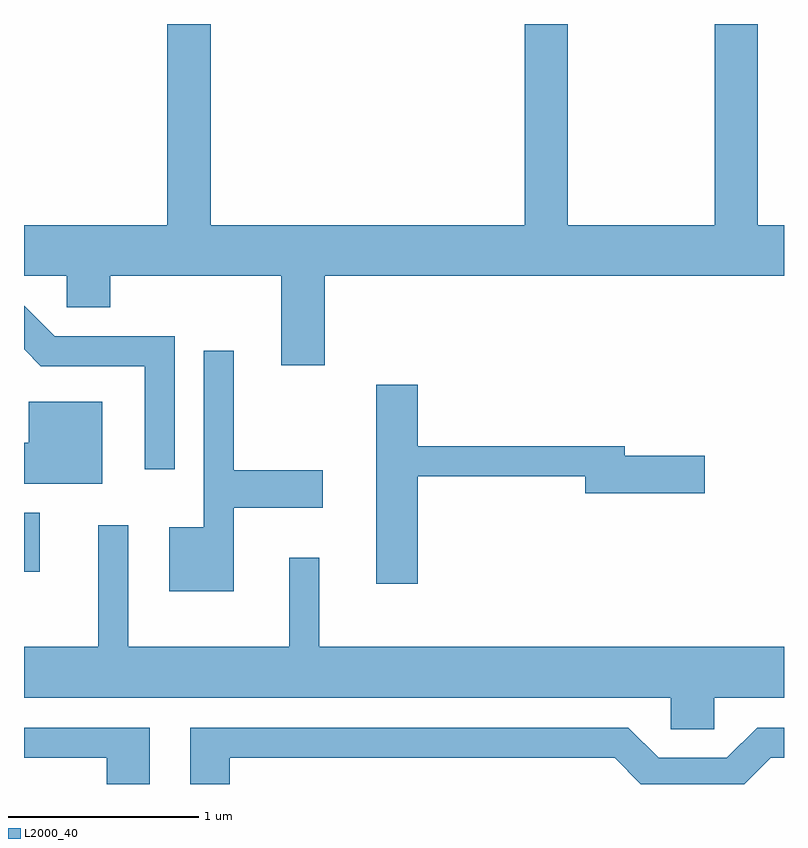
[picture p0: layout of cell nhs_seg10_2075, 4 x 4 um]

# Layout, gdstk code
import gdstk
lib = gdstk.Library(unit=1e-6, precision=1e-09)
def R(c, l, rs):  # rectangles x0, y0, x1, y1
    for r in rs: c.add(gdstk.rectangle(r[:2], r[2:], *l))
def P(c, l, *ps):  # polygons
    for p in ps: c.add(gdstk.Polygon(p, *l))
L2000_40 = (2000, 40)

nhs_seg10_2075 = lib.new_cell('nhs_seg10_2075')
R(nhs_seg10_2075, L2000_40, [(245.611,2165.638,245.694,2165.949)])
P(nhs_seg10_2075, L2000_40, [(247.194,2167.196),(249.611,2167.196),(249.611,2167.464),(249.474,2167.464),(249.474,2168.522),(249.246,2168.522),(249.246,2167.464),(248.474,2167.464),(248.474,2168.522),(248.246,2168.522),(248.246,2167.464),(246.594,2167.464),(246.594,2168.522),(246.366,2168.522),(246.366,2167.464),(245.611,2167.464),(245.611,2167.196),(245.836,2167.196),(245.836,2167.031),(246.064,2167.031),(246.064,2167.196),(246.966,2167.196),(246.966,2166.726),(247.194,2166.726)],
  [(246.404,2166.879),(245.772,2166.879),(245.612,2167.039),(245.611,2167.039),(245.611,2166.809),(245.699,2166.721),(246.246,2166.721),(246.246,2166.178),(246.404,2166.178)],
  [(246.714,2165.976),(247.184,2165.976),(247.184,2166.174),(246.714,2166.174),(246.714,2166.803),(246.556,2166.803),(246.556,2165.874),(246.376,2165.874),(246.376,2165.536),(246.714,2165.536)],
  [(247.684,2166.141),(248.566,2166.141),(248.566,2166.051),(249.194,2166.051),(249.194,2166.249),(248.774,2166.249),(248.774,2166.299),(247.684,2166.299),(247.684,2166.624),(247.466,2166.624),(247.466,2165.576),(247.684,2165.576)],
  [(246.024,2166.534),(245.636,2166.534),(245.636,2166.319),(245.611,2166.319),(245.611,2166.101),(246.024,2166.101)],
  [(249.244,2164.976),(249.611,2164.976),(249.611,2165.244),(247.164,2165.244),(247.164,2165.713),(247.006,2165.713),(247.006,2165.244),(246.159,2165.244),(246.159,2165.883),(246.001,2165.883),(246.001,2165.244),(245.611,2165.244),(245.611,2164.976),(249.016,2164.976),(249.016,2164.811),(249.244,2164.811)],
  [(246.274,2164.819),(245.611,2164.819),(245.611,2164.661),(246.046,2164.661),(246.046,2164.522),(246.274,2164.522)],
  [(246.694,2164.661),(248.719,2164.661),(248.858,2164.522),(249.403,2164.522),(249.542,2164.661),(249.611,2164.661),(249.611,2164.819),(249.469,2164.819),(249.309,2164.659),(248.952,2164.659),(248.792,2164.819),(246.486,2164.819),(246.486,2164.522),(246.694,2164.522)])

lib.write_gds('nhs_seg10_2075.gds')
